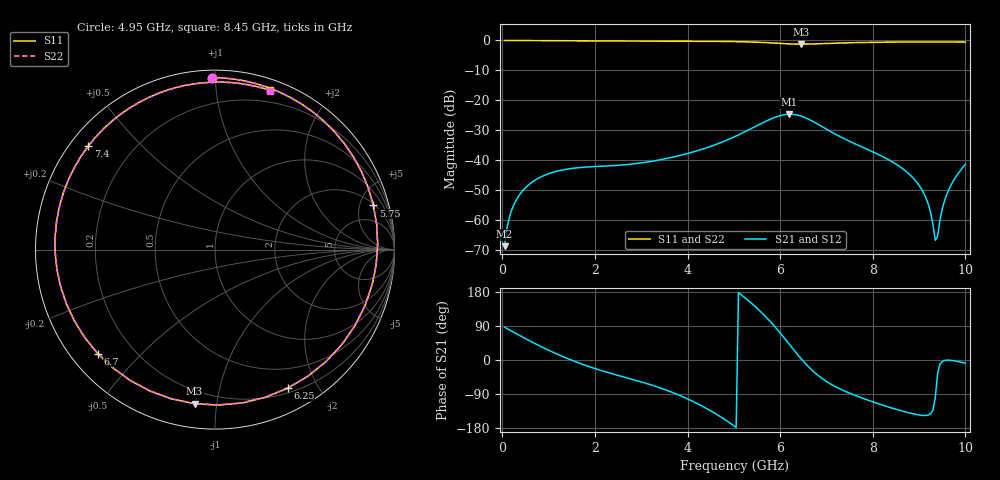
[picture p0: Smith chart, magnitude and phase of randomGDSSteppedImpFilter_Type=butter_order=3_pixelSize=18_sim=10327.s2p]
! freq	dB(S11)	phase(S11)	dB(S12)	phase(S12)
!  dB(S21)	phase(S21)	dB(S22)	phase(S22)
!S-par simulation data
#  GHz  S  DB  R 50
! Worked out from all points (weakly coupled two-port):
!   200 points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, 50 MHz to 10 GHz, reference 50 ohm
!   highest |S21| = -24.68 dB at 6.2 GHz (marker M1); lowest = -68.8 dB at 50 MHz (marker M2)
!   lowest |S11| = -1.2 dB at 6.45 GHz (marker M3), VSWR 13.95, Z = 6.31 - j43.4 ohm
!   |S11| at or under -10 dB: nowhere
!   |S22| runs from -1.3 to 0.0 dB; largest |S21 - S12| = 0
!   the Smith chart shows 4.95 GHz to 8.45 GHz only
!   S11 on the Smith chart (normalised r, x): 4.95 GHz: 0.04, +0.98; 5.75 GHz: 2.16, +6.63; 6.25 GHz: 0.25, -1.62; 6.7 GHz: 0.08, -0.38; 7.4 GHz: 0.05, +0.36; 8.45 GHz: 0.09, +1.40
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0.05  -0.00 -3.4  -68.81 86.5  -68.81 86.5  -0.00 -3.4
0.2  -0.02 -13.6  -56.82 76.3  -56.82 76.3  -0.02 -13.6
0.5  -0.05 -33.6  -49.28 56.4  -49.28 56.4  -0.05 -33.6
1.1  -0.09 -71.5  -44.06 20.1  -44.06 20.1  -0.09 -71.5
1.75  -0.12 -108.0  -42.41 -12.2  -42.41 -12.2  -0.12 -108.0
3.4  -0.19 173.7  -39.93 -73.2  -39.93 -73.2  -0.19 173.6
4.2  -0.25 135.4  -36.93 -114.4  -36.93 -114.4  -0.25 135.3
4.95  -0.36 91.1  -32.66 -169.1  -32.66 -169.1  -0.37 90.9
5.05  -0.39 83.9  -31.96 -177.9  -31.96 -177.9  -0.39 83.7
5.75  -0.76 15.6  -26.60 106.3  -26.60 106.3  -0.77 15.2
6.2  -1.16 -53.6  -24.68 41.0  -24.68 41.0  -1.17 -54.1
6.25  -1.19 -62.3  -24.69 33.3  -24.69 33.3  -1.20 -62.8
6.45  -1.25 -97.6  -25.29 3.7  -25.29 3.7  -1.26 -98.0
6.7  -1.18 -138.4  -27.02 -28.2  -27.02 -28.2  -1.19 -138.8
7  -1.00 -178.7  -29.68 -56.7  -29.68 -56.7  -1.01 -179.0
7.4  -0.80 140.8  -33.00 -82.4  -33.00 -82.4  -0.81 140.6
8.35  -0.56 76.4  -39.96 -124.4  -39.96 -124.4  -0.57 76.2
8.45  -0.55 70.9  -40.87 -128.1  -40.87 -128.1  -0.56 70.8
9.1  -0.51 38.8  -51.07 -146.4  -51.07 -146.4  -0.51 38.7
9.35  -0.51 27.6  -66.85 -98.9  -66.85 -98.9  -0.51 27.5
9.6  -0.52 17.0  -51.41 -0.4  -51.41 -0.4  -0.52 16.9
10  -0.56 1.0  -41.42 -8.5  -41.42 -8.5  -0.57 0.8
